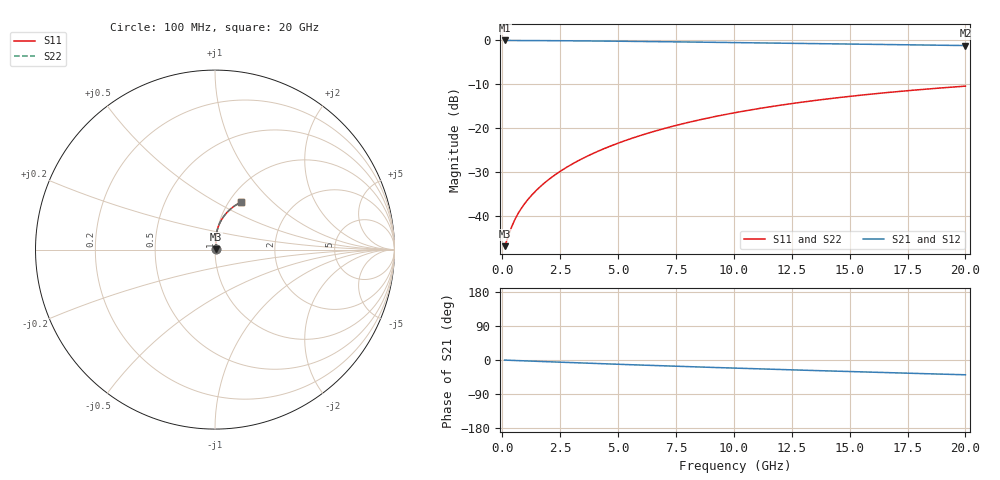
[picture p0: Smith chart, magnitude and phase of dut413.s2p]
! Touchstone file exported from HFSS 2024.1.0
!  File:  C:/UserFiles/LocalFiles/RDL_TSV_Batchsim/temp_RDL_bottom_413_1779683401.aedt
!  Generated:  12:32:30 PM May 25, 2026
!  Design:  RDL_bottom
!  Project:  temp_RDL_bottom_413_1779683401
!  Setup:  Setup1
!  Solution:  Sweep
! Variables:
!  dtsv = 10.80580581um
!  hbump = 3um
!  htsv = 91.25um
!  ldown = 582.5um
!  lrdl = 100um
!  p = 40
!  p1 = 43.87um
!  rhole = 1um
!  t = 450um
!  tdown = 2.05um
!  trdl = 3.915915916um
!  wdown = 25.42um
!  wrdl = 20um
# GHz S MA R 50.000000
! Terminal data exported
! Port[1] = RDL1_T1
! Port[2] = RDL1_T2
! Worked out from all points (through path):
!   200 points, 100 MHz to 20 GHz, reference 50 ohm
!   highest |S21| = -0.04 dB at 100 MHz (marker M1); lowest = -1.2 dB at 20 GHz (marker M2)
!   group delay of S21, straight-line fit = 5.37 ps
!   lowest |S11| = -46.7 dB at 100 MHz (marker M3), VSWR 1.01, Z = 50.4 + j0.155 ohm
!   |S11| at or under -10 dB: start of sweep to end of sweep
!   |S22| runs from -46.7 to -10.4 dB; largest |S21 - S12| = 3.1e-15
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0.1  0.004604 19.6  0.9957 -0.3  0.9957 -0.3  0.004604 19.6
! Gamma 0 0 0 0
! Port Impedance 50 0 50 0
0.4  0.00758 50.3  0.995 -1.0  0.995 -1.0  0.00758 50.3
0.5  0.008727 54.8  0.9947 -1.2  0.9947 -1.2  0.008727 54.8
0.6  0.009867 58.2  0.9945 -1.5  0.9945 -1.5  0.009867 58.2
0.7  0.011 61.0  0.9942 -1.7  0.9942 -1.7  0.011 61.0
0.9  0.01325 65.4  0.9937 -2.1  0.9937 -2.1  0.01325 65.4
1.2  0.01666 70.2  0.993 -2.8  0.993 -2.8  0.01666 70.2
1.4  0.01898 72.6  0.9925 -3.3  0.9925 -3.3  0.01898 72.6
1.7  0.02255 75.5  0.9916 -4.0  0.9916 -4.0  0.02255 75.5
2.2  0.02872 78.9  0.9901 -5.1  0.9901 -5.1  0.02872 78.9
2.8  0.03648 81.6  0.9878 -6.5  0.9878 -6.5  0.03648 81.6
3.5  0.046 83.5  0.9846 -8.0  0.9846 -8.0  0.046 83.5
4.2  0.056 84.6  0.981 -9.6  0.981 -9.6  0.056 84.6
5  0.06796 85.0  0.9764 -11.3  0.9764 -11.3  0.06796 85.0
5.9  0.08199 84.9  0.9708 -13.2  0.9708 -13.2  0.08199 84.9
6.8  0.0965 84.3  0.9649 -15.0  0.9649 -15.0  0.0965 84.3
8.4  0.123 82.4  0.9538 -18.2  0.9538 -18.2  0.123 82.4
10.1  0.1516 79.6  0.9417 -21.5  0.9417 -21.5  0.1516 79.7
11.7  0.1782 76.8  0.9302 -24.5  0.9302 -24.5  0.1782 76.8
13.4  0.2058 73.5  0.9179 -27.6  0.9179 -27.6  0.2058 73.5
16.7  0.2563 67.2  0.8945 -33.4  0.8945 -33.4  0.2563 67.2
20  0.3018 61.1  0.8714 -39.0  0.8714 -39.0  0.3018 61.2
